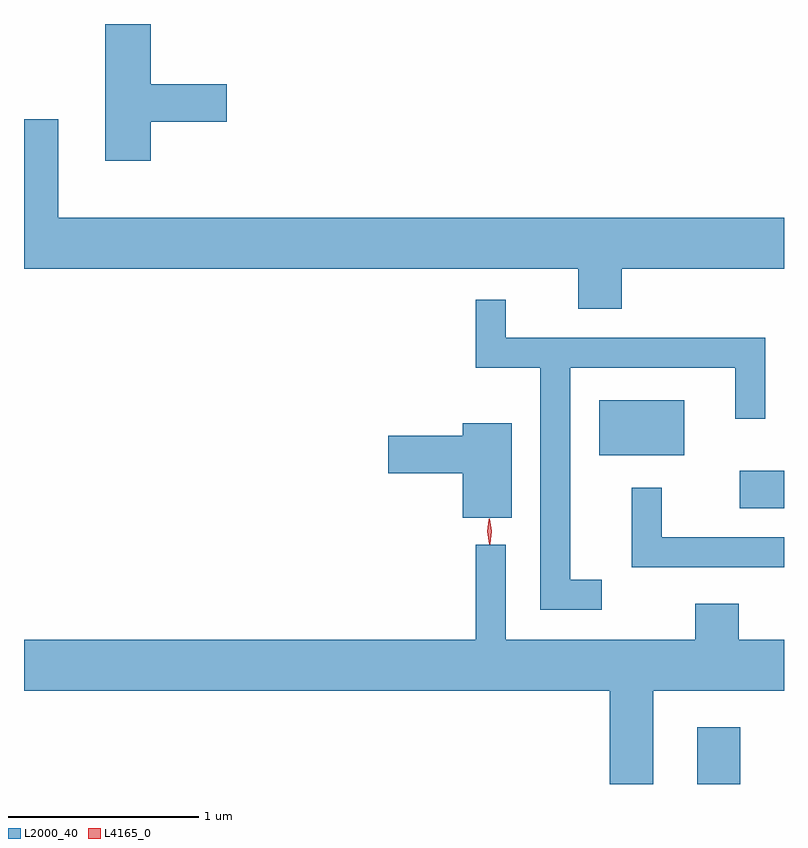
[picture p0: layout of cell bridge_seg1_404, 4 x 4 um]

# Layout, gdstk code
import gdstk
lib = gdstk.Library(unit=1e-6, precision=1e-09)
def R(c, l, rs):  # rectangles x0, y0, x1, y1
    for r in rs: c.add(gdstk.rectangle(r[:2], r[2:], *l))
def P(c, l, *ps):  # polygons
    for p in ps: c.add(gdstk.Polygon(p, *l))
L2000_40 = (2000, 40)
L4165_0 = (4165, 0)

bridge_seg1_404 = lib.new_cell('bridge_seg1_404')
R(bridge_seg1_404, L2000_40, [(373.401,950.145,373.629,950.444), (373.626,951.596,373.858,951.794), (372.886,951.876,373.334,952.164)])
P(bridge_seg1_404, L2000_40, [(370.524,953.631),(370.924,953.631),(370.924,953.829),(370.524,953.829),(370.524,954.145),(370.286,954.145),(370.286,953.426),(370.524,953.426)],
  [(373.004,952.856),(373.858,952.856),(373.858,953.124),(370.039,953.124),(370.039,953.644),(369.858,953.644),(369.858,952.856),(372.776,952.856),(372.776,952.646),(373.004,952.646)],
  [(372.898,951.219),(372.734,951.219),(372.734,952.336),(373.601,952.336),(373.601,952.068),(373.759,952.068),(373.759,952.494),(372.394,952.494),(372.394,952.693),(372.236,952.693),(372.236,952.336),(372.576,952.336),(372.576,951.061),(372.898,951.061)],
  [(372.424,952.044),(372.166,952.044),(372.166,951.979),(371.776,951.979),(371.776,951.781),(372.166,951.781),(372.166,951.546),(372.424,951.546)],
  [(373.858,951.444),(373.214,951.444),(373.214,951.703),(373.056,951.703),(373.056,951.286),(373.858,951.286)],
  [(373.169,950.636),(373.858,950.636),(373.858,950.904),(373.619,950.904),(373.619,951.094),(373.391,951.094),(373.391,950.904),(372.394,950.904),(372.394,951.403),(372.236,951.403),(372.236,950.904),(369.858,950.904),(369.858,950.636),(372.941,950.636),(372.941,950.145),(373.169,950.145)])
P(bridge_seg1_404, L4165_0, [(372.307,951.408),(372.307,951.408),(372.296,951.474),(372.304,951.539),(372.305,951.539),(372.305,951.539),(372.316,951.474),(372.308,951.408)],
  [(372.313,951.405),(372.312,951.406),(372.3,951.473),(372.307,951.542),(372.307,951.542),(372.308,951.542),(372.32,951.474),(372.313,951.406)])

lib.write_gds('bridge_seg1_404.gds')
